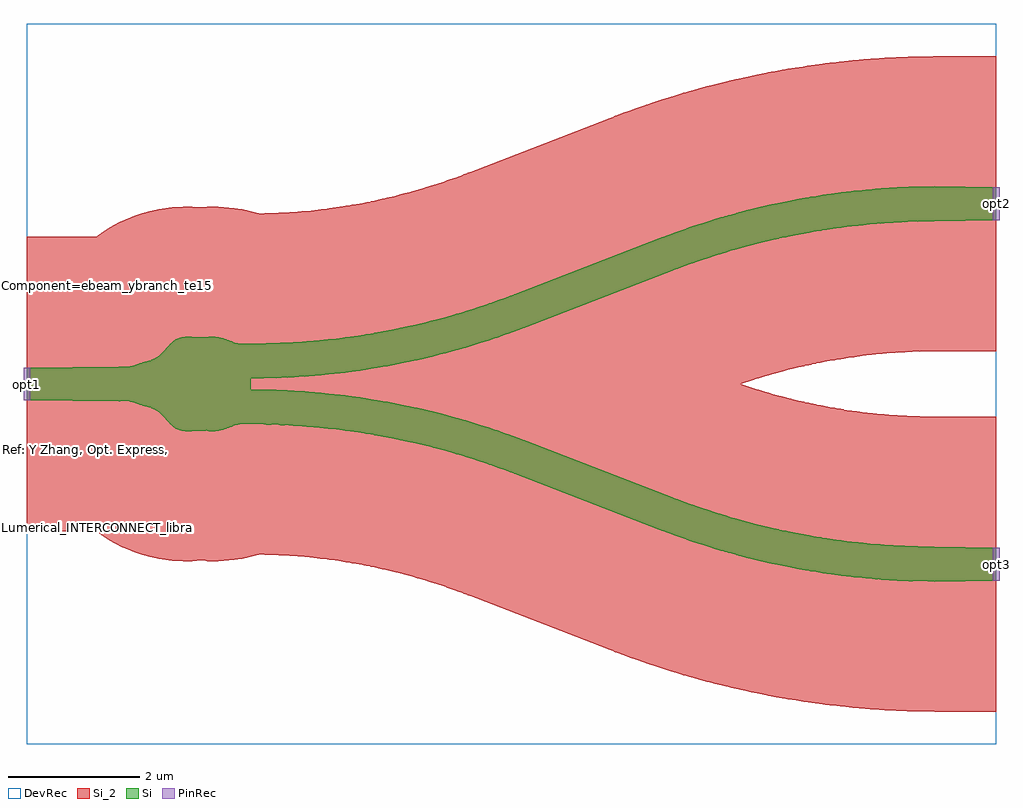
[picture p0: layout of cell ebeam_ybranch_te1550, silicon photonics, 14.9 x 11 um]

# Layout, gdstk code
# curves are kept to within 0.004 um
import gdstk
lib = gdstk.Library(unit=1e-6, precision=1e-09)
def R(c, l, rs):  # rectangles x0, y0, x1, y1
    for r in rs: c.add(gdstk.rectangle(r[:2], r[2:], *l))
def P(c, l, *ps):  # polygons
    for p in ps: c.add(gdstk.Polygon(p, *l))
Si = (1, 0)
Si_2 = (1, 2)
PinRec = (1, 10)
DevRec = (68, 0)

ebeam_ybranch_te1550 = lib.new_cell('ebeam_ybranch_te1550')
P(ebeam_ybranch_te1550, Si, [(13.858,-3.016),(13.465,-3.008),(13.117,-2.99),(12.805,-2.965),(12.422,-2.923),(12.051,-2.87),(11.654,-2.8),(11.271,-2.719),(10.879,-2.622),(10.317,-2.457),(9.806,-2.281),(7.449,-1.371),(7.026,-1.217),(6.633,-1.091),(6.273,-0.989),(5.864,-0.89),(5.571,-0.828),(5.154,-0.754),(4.721,-0.694),(4.274,-0.65),(3.799,-0.623),(3.277,-0.611),(3.198,-0.624),(2.997,-0.696),(2.91,-0.715),(2.408,-0.717),(2.349,-0.708),(2.304,-0.693),(2.233,-0.651),(2.184,-0.605),(2.045,-0.451),(1.951,-0.388),(1.859,-0.353),(1.565,-0.266),(1.517,-0.261),(1.402,-0.266),(0,-0.25),(0,0.25),(1.402,0.266),(1.516,0.261),(1.565,0.266),(1.859,0.353),(1.951,0.388),(2.045,0.451),(2.184,0.605),(2.233,0.651),(2.304,0.693),(2.349,0.708),(2.408,0.717),(2.91,0.715),(2.997,0.696),(3.198,0.624),(3.278,0.611),(3.769,0.622),(4.207,0.645),(4.606,0.681),(5.064,0.74),(5.488,0.812),(5.819,0.88),(6.204,0.971),(6.515,1.056),(6.882,1.169),(7.378,1.344),(9.885,2.31),(10.158,2.405),(10.497,2.513),(10.838,2.611),(11.206,2.704),(11.654,2.8),(12.05,2.87),(12.512,2.934),(12.954,2.978),(13.346,3.003),(13.741,3.015),(14.8,3),(14.8,2.5),(13.53,2.478),(12.975,2.446),(12.596,2.408),(12.216,2.357),(11.943,2.312),(11.568,2.239),(11.203,2.155),(10.916,2.081),(10.585,1.984),(10.274,1.883),(9.851,1.729),(7.437,0.798),(6.888,0.613),(6.421,0.478),(6.064,0.389),(5.646,0.3),(5.25,0.23),(4.878,0.177),(4.495,0.135),(4.152,0.108),(3.777,0.09),(3.416,0.084),(3.416,-0.084),(3.835,-0.092),(4.241,-0.114),(4.692,-0.155),(5.091,-0.206),(5.508,-0.274),(5.949,-0.363),(6.314,-0.45),(6.685,-0.552),(7.142,-0.695),(7.494,-0.819),(9.851,-1.729),(10.19,-1.854),(10.48,-1.951),(10.841,-2.06),(11.135,-2.139),(11.436,-2.21),(11.817,-2.289),(12.216,-2.357),(12.596,-2.408),(12.975,-2.446),(13.264,-2.466),(13.598,-2.48),(14.8,-2.5),(14.8,-3)])
P(ebeam_ybranch_te1550, Si_2, [(13.858,-5),(13.44,-4.993),(13.098,-4.977),(12.651,-4.944),(12.26,-4.903),(11.749,-4.831),(11.328,-4.758),(10.751,-4.635),(10.356,-4.536),(9.832,-4.385),(9.455,-4.262),(9.123,-4.144),(6.701,-3.209),(6.371,-3.09),(6.055,-2.989),(5.757,-2.905),(5.249,-2.786),(4.828,-2.711),(4.383,-2.652),(4.044,-2.622),(3.64,-2.603),(3.554,-2.602),(3.287,-2.664),(3.008,-2.701),(2.226,-2.699),(2.012,-2.664),(1.878,-2.635),(1.764,-2.605),(1.502,-2.51),(1.257,-2.382),(1.166,-2.327),(1.059,-2.25),(0,-2.25),(0,2.25),(1.059,2.25),(1.166,2.327),(1.257,2.382),(1.502,2.51),(1.764,2.605),(1.878,2.635),(2.012,2.664),(2.226,2.699),(3.008,2.701),(3.221,2.675),(3.415,2.637),(3.554,2.602),(3.604,2.602),(4.044,2.622),(4.399,2.654),(4.781,2.704),(5.131,2.763),(5.397,2.818),(5.684,2.886),(5.973,2.965),(6.273,3.057),(6.649,3.189),(9.202,4.173),(9.527,4.286),(9.917,4.411),(10.326,4.528),(10.751,4.635),(11.297,4.752),(11.731,4.828),(12.26,4.903),(12.651,4.944),(13.098,4.977),(13.56,4.996),(14.8,5),(14.8,0.5),(13.856,0.5),(13.559,0.494),(13.15,0.47),(12.684,0.42),(12.3,0.361),(11.827,0.265),(11.376,0.149),(10.901,0),(11.389,-0.153),(11.827,-0.265),(12.3,-0.361),(12.684,-0.42),(13.15,-0.47),(13.559,-0.494),(13.876,-0.5),(14.8,-0.5),(14.8,-5)])
R(ebeam_ybranch_te1550, DevRec, [(0,-5.5,14.8,5.5)])
ebeam_ybranch_te1550.add(gdstk.FlexPath([(14.75,2.75),(14.85,2.75)], 0.5, ends="flush", simple_path=True, layer=1, datatype=10))  # PinRec
ebeam_ybranch_te1550.add(gdstk.FlexPath([(14.75,-2.75),(14.85,-2.75)], 0.5, ends="flush", simple_path=True, layer=1, datatype=10))  # PinRec
ebeam_ybranch_te1550.add(gdstk.FlexPath([(0.05,0),(-0.05,0)], 0.5, ends="flush", simple_path=True, layer=1, datatype=10))  # PinRec
ebeam_ybranch_te1550.add(gdstk.Label('Ref: Y Zhang, Opt. Express, 21/1, 2013', (0.47,-1), layer=10, texttype=0))
ebeam_ybranch_te1550.add(gdstk.Label('opt2', (14.8,2.75), layer=1, texttype=10))
ebeam_ybranch_te1550.add(gdstk.Label('opt3', (14.8,-2.75), layer=1, texttype=10))
ebeam_ybranch_te1550.add(gdstk.Label('opt1', (0,0), layer=1, texttype=10))
ebeam_ybranch_te1550.add(gdstk.Label('Lumerical_INTERCONNECT_library=Design kits/SiEPICfab_EBeam', (0.54,-2.19), layer=68, texttype=0))
ebeam_ybranch_te1550.add(gdstk.Label('Component=ebeam_ybranch_te1550', (0.51,1.5), layer=68, texttype=0))

lib.write_gds('ebeam_ybranch_te1550.gds')
